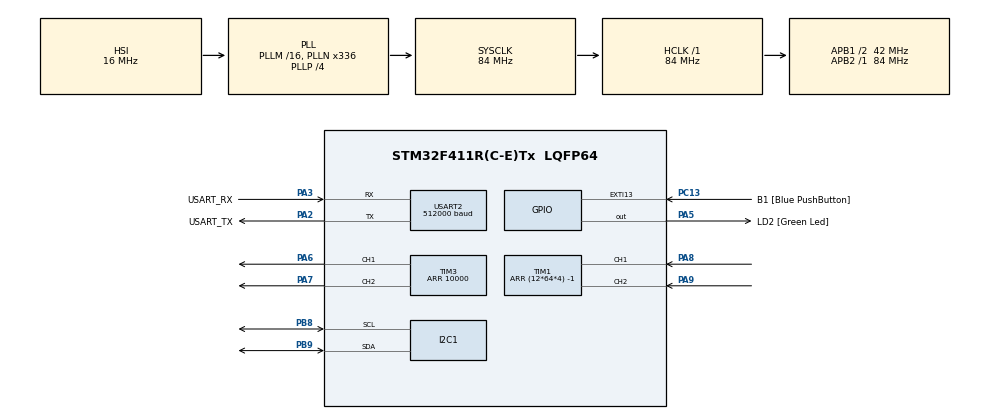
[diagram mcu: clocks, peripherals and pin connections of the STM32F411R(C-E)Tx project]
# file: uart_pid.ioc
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Dma.Request0=USART2_RX
Dma.Request1=USART2_TX
Dma.USART2_RX.0.Direction=DMA_PERIPH_TO_MEMORY
Dma.USART2_RX.0.FIFOMode=DMA_FIFOMODE_DISABLE
Dma.USART2_RX.0.Instance=DMA1_Stream5
Dma.USART2_RX.0.MemDataAlignment=DMA_MDATAALIGN_BYTE
Dma.USART2_RX.0.MemInc=DMA_MINC_ENABLE
Dma.USART2_RX.0.Mode=DMA_CIRCULAR
Dma.USART2_RX.0.PeriphDataAlignment=DMA_PDATAALIGN_BYTE
Dma.USART2_RX.0.PeriphInc=DMA_PINC_DISABLE
Dma.USART2_RX.0.Priority=DMA_PRIORITY_LOW
Dma.USART2_TX.1.Direction=DMA_MEMORY_TO_PERIPH
Dma.USART2_TX.1.FIFOMode=DMA_FIFOMODE_DISABLE
Dma.USART2_TX.1.Instance=DMA1_Stream6
Dma.USART2_TX.1.MemDataAlignment=DMA_MDATAALIGN_BYTE
Dma.USART2_TX.1.MemInc=DMA_MINC_ENABLE
Dma.USART2_TX.1.Mode=DMA_NORMAL
Dma.USART2_TX.1.PeriphDataAlignment=DMA_PDATAALIGN_BYTE
Dma.USART2_TX.1.PeriphInc=DMA_PINC_DISABLE
Dma.USART2_TX.1.Priority=DMA_PRIORITY_LOW
Mcu.Family=STM32F4
Mcu.Name=STM32F411R(C-E)Tx
Mcu.Package=LQFP64
NVIC.DMA1_Stream5_IRQn=true\:0\:0\:false\:false\:true\:false\:true
NVIC.DMA1_Stream6_IRQn=true\:0\:0\:false\:false\:true\:false\:true
NVIC.PriorityGroup=NVIC_PRIORITYGROUP_0
NVIC.TIM5_IRQn=true\:0\:0\:false\:false\:true\:true\:true
NVIC.USART2_IRQn=true\:0\:0\:false\:false\:true\:true\:true
PA13.GPIO_Label=TMS
PA13.Mode=Serial_Wire
PA13.Signal=SYS_JTMS-SWDIO
PA14.GPIO_Label=TCK
PA14.Mode=Serial_Wire
PA14.Signal=SYS_JTCK-SWCLK
PA2.GPIO_Label=USART_TX
PA2.Mode=Asynchronous
PA2.Signal=USART2_TX
PA3.GPIO_Label=USART_RX
PA3.Mode=Asynchronous
PA3.Signal=USART2_RX
PA5.GPIO_Label=LD2 [Green Led]
PA5.Signal=GPIO_Output
PA6.Signal=S_TIM3_CH1
PA7.Signal=S_TIM3_CH2
PA8.Signal=S_TIM1_CH1
PA9.Signal=S_TIM1_CH2
PB3.GPIO_Label=SWO
PB3.Signal=SYS_JTDO-SWO
PB8.Mode=I2C
PB8.Signal=I2C1_SCL
PB9.Mode=I2C
PB9.Signal=I2C1_SDA
PC13-ANTI_TAMP.GPIO_Label=B1 [Blue PushButton]
PC13-ANTI_TAMP.GPIO_ModeDefaultEXTI=GPIO_MODE_IT_FALLING
PC13-ANTI_TAMP.Signal=GPXTI13
PC14-OSC32_IN.Mode=LSE-External-Oscillator
PC14-OSC32_IN.Signal=RCC_OSC32_IN
PC15-OSC32_OUT.Mode=LSE-External-Oscillator
PC15-OSC32_OUT.Signal=RCC_OSC32_OUT
PH0\ -\ OSC_IN.Mode=HSE-External-Clock-Source
PH0\ -\ OSC_IN.Signal=RCC_OSC_IN
PH1\ -\ OSC_OUT.Mode=HSE-External-Clock-Source
PH1\ -\ OSC_OUT.Signal=RCC_OSC_OUT
ProjectManager.HeapSize=0x200
ProjectManager.StackSize=0x400
ProjectManager.TargetToolchain=STM32CubeIDE
RCC.48MHZClocksFreq_Value=84000000
RCC.AHBFreq_Value=84000000
RCC.APB1CLKDivider=RCC_HCLK_DIV2
RCC.APB1Freq_Value=42000000
RCC.APB1TimFreq_Value=84000000
RCC.APB2Freq_Value=84000000
RCC.APB2TimFreq_Value=84000000
RCC.CortexFreq_Value=84000000
RCC.FLatency-AdvancedSettings=FLASH_LATENCY_2
RCC.HCLKFreq_Value=84000000
RCC.HSE_VALUE=8000000
RCC.HSI_VALUE=16000000
RCC.PLLN=336
RCC.PLLP=RCC_PLLP_DIV4
RCC.SYSCLKFreq_VALUE=84000000
RCC.SYSCLKSource=RCC_SYSCLKSOURCE_PLLCLK
RCC.VCOOutputFreq_Value=336000000
SH.S_TIM1_CH1.0=TIM1_CH1,Encoder_Interface
SH.S_TIM1_CH2.0=TIM1_CH2,Encoder_Interface
SH.S_TIM3_CH1.0=TIM3_CH1,PWM Generation1 CH1
SH.S_TIM3_CH2.0=TIM3_CH2,PWM Generation2 CH2
TIM1.EncoderMode=TIM_ENCODERMODE_TI12
TIM1.Period=(12*64*4) -1
TIM3.Channel-PWM\ Generation1\ CH1=TIM_CHANNEL_1
TIM3.Channel-PWM\ Generation2\ CH2=TIM_CHANNEL_2
TIM3.Period=10000
TIM5.Prescaler=99
USART2.BaudRate=512000
USART2.Parity=PARITY_EVEN
USART2.VirtualMode=VM_ASYNC
USART2.WordLength=WORDLENGTH_9B
VP_TIM5_VS_ClockSourceINT.Mode=Internal
board=NUCLEO-F411RE

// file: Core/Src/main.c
/* USER CODE BEGIN Header */
/**
  ******************************************************************************
  * @file           : main.c
  * @brief          : Main program body
  ******************************************************************************
  * @attention
  *
  * <h2><center>&copy; Copyright (c) 2021 STMicroelectronics.
  * All rights reserved.</center></h2>
  *
  * This software component is licensed by ST under BSD 3-Clause license,
  * the "License"; You may not use this file except in compliance with the
  * License. You may obtain a copy of the License at:
  *                        opensource.org/licenses/BSD-3-Clause
  *
  ******************************************************************************
  */
/* USER CODE END Header */
#include "main.h"

/* USER CODE BEGIN Includes */
#include <math.h>
#include <stdlib.h>

/* USER CODE END Includes */

/* USER CODE BEGIN PTD */

typedef struct{

	double pre_input;
	double pre_output;
	double pre_time;
	double Wc;

} LowPass;

typedef struct{

	double kp,ki,kd;
	double tau;		// derivative low-pass filter time constant
	double max,min;	// output limit
	double dt;		// sample time
	double integral,pre_error,diff,pre_mea;

} PID;

// UART protocol
typedef struct _UartStructure
{
	UART_HandleTypeDef *huart;
	uint16_t TxLen, RxLen;
	uint8_t *TxBuffer;
	uint16_t TxTail, TxHead;
	uint8_t *RxBuffer;
	uint16_t RxTail; //RXHeadUseDMA

} UARTStucrture;

UARTStucrture UART2 =
{ 0 };

typedef enum{
	state_idle,
	state_start,
	state_mode,
	state_n_station,
	state_data_frame,
	state_check_sum,
	state_wait_for_ack1_1,
	state_wait_for_ack1_2,
}uart_state;

int inputchar = -1;

typedef enum{
	state_move_idle,
	state_tar_plan,
	state_wait_des,
	state_wait_5sec,
	state_check_left_stations
}moving_state;

/* USER CODE END PTD */

I2C_HandleTypeDef hi2c1;

TIM_HandleTypeDef htim1;
TIM_HandleTypeDef htim3;
TIM_HandleTypeDef htim5;

UART_HandleTypeDef huart2;
DMA_HandleTypeDef hdma_usart2_rx;
DMA_HandleTypeDef hdma_usart2_tx;

/* USER CODE BEGIN PV */

uint64_t _micro = 0;

int encoder_value = 0;
double encoder_velocity = 0,encoder_velocity_rpm = 0;
uint64_t time_stamp = 0,time_stamp2 = 0,time_stamp_5sec = 0;

LowPass lowpass_filters[10] = {0};
double Wc_arr[15] = {0.00001,0.00002,0.00003,0.00004,0.00005,0.00006,0.00007,0.00008,0.00009,0.0001} ;
double lowpass_output[15] = {0};
double kalman_output = 0;

PID pids[2] = {0};
double pid_pwm_output = 0,setpoint = 0;

double paths[1000] = {0};
int paths_ind = 0,path_n_cnt = 0;

int station_ind = 0;
int stations_postion[10] = {0,45,180,35,270,70,150,200,30,300};
uint8_t mcu_connect = 0,goals[512] = {0},go_now = 0,current_station = 0,enable_endeffector = 0,enable_sethome = 0;
uint16_t n_goal = 0;
double max_velocity = 0,set_position = 0,current_position = 1.5634;

moving_state move_state = state_move_idle;

/* USER CODE END PV */

void SystemClock_Config(void);
static void MX_GPIO_Init(void);
static void MX_DMA_Init(void);
static void MX_USART2_UART_Init(void);
static void MX_TIM1_Init(void);
static void MX_TIM3_Init(void);
static void MX_TIM5_Init(void);
static void MX_I2C1_Init(void);
/* USER CODE BEGIN PFP */

uint64_t micros();

int unwraping_update();
double velocity_update(int cur_pos);
double low_pass_process(LowPass *lowpass,double input);
double kalman_filter_update(double U);
double pid_update(PID *pid,double setpoint,double mea);
double ppms_to_rpm(double input);
void targectory_cal(double *datas,int *n,int start_pos,int stop_pos,double dt);
void encoder_lowpass_update();
void uart_update();
void moving_state_update();
void end_effector_update();

//UART protocol
void UARTInit(UARTStucrture *uart);

void UARTResetStart(UARTStucrture *uart);

uint32_t UARTGetRxHead(UARTStucrture *uart);

int16_t UARTReadChar(UARTStucrture *uart);

void UARTTxDumpBuffer(UARTStucrture *uart);

void UARTTxWrite(UARTStucrture *uart, uint8_t *pData, uint16_t len);

void uart_protocal(int16_t input,UARTStucrture *uart);

/* USER CODE END PFP */

int main(void)
{

  /* MCU Configuration--------------------------------------------------------*/

  /* Reset of all peripherals, Initializes the Flash interface and the Systick. */
  HAL_Init();

  /* Configure the system clock */
  SystemClock_Config();

  /* Initialize all configured peripherals */
  MX_GPIO_Init();
  MX_DMA_Init();
  MX_USART2_UART_Init();
  MX_TIM1_Init();
  MX_TIM3_Init();
  MX_TIM5_Init();
  MX_I2C1_Init();
  /* USER CODE BEGIN 2 */

  // start micro
  HAL_TIM_Base_Start_IT(&htim5);

  // start PWM
  HAL_TIM_Base_Start(&htim3);
  HAL_TIM_PWM_Start(&htim3, TIM_CHANNEL_1);
  HAL_TIM_PWM_Start(&htim3, TIM_CHANNEL_2);

  // start QEI
  HAL_TIM_Encoder_Start(&htim1, TIM_CHANNEL_ALL);

  //init lowpass_filter
  for(int i = 0;i < 10;i++){
	  lowpass_filters[i].Wc = Wc_arr[i];
  }

  //init pid
  pids[0].dt = pids[1].dt = 0.02;
  pids[0].min = pids[1].min = -10000;
  pids[0].max = pids[1].max = 10000;
  pids[0].tau = pids[1].tau = 0.02;

  pids[0].kp = 500;
  pids[0].ki = 600;
  pids[0].kd = 10;

  //PID position control
  pids[1].kp = 500;
  pids[1].ki = 1000;
  pids[1].kd = 1;

  //UART protocol
  UART2.huart = &huart2;
  UART2.RxLen = 255;
  UART2.TxLen = 255;
  UARTInit(&UART2);
  UARTResetStart(&UART2);

  enable_endeffector = 1;

  targectory_cal(paths, &path_n_cnt, 0, 180, 0.02);

  /* USER CODE END 2 */

  /* Infinite loop */
  /* USER CODE BEGIN WHILE */
  while (1)
  {

	  moving_state_update();

	  encoder_lowpass_update();

	  end_effector_update();

	  //pid control , system dead-time = 0.16 sec = 6.25 Hz 165000
	  if(micros() - time_stamp2 > 20000){ // 6.06Hz
		  time_stamp2 = micros();

		  setpoint = paths_ind < path_n_cnt ? paths[paths_ind++]/6:0;
		  pid_pwm_output = pid_update(&pids[0], setpoint, encoder_velocity_rpm);

		  /*
		  if(go_now == 1 && abs((int)(setpoint - (double)encoder_value/(12*64*4-1)*360)) < 3){
		  	  setpoint = stations_postion[goals[station_ind++]];
			  if(station_ind >= n_goal){go_now = station_ind = 0;}
			}
			pid_pwm_output = pid_update(&pids[1], setpoint, (double)encoder_value/(12*64*4-1)*360);
		   */

		  if(pid_pwm_output > 0){
			  __HAL_TIM_SET_COMPARE(&htim3,TIM_CHANNEL_1,pid_pwm_output);
			  __HAL_TIM_SET_COMPARE(&htim3,TIM_CHANNEL_2,0);
		  }
		  else{
			  __HAL_TIM_SET_COMPARE(&htim3,TIM_CHANNEL_1,0);
			  __HAL_TIM_SET_COMPARE(&htim3,TIM_CHANNEL_2,-pid_pwm_output);
		  }
	  }

	  uart_update();

    /* USER CODE END WHILE */

  }
}

void SystemClock_Config(void)
{
  RCC_OscInitTypeDef RCC_OscInitStruct = {0};
  RCC_ClkInitTypeDef RCC_ClkInitStruct = {0};

  /** Configure the main internal regulator output voltage
  */
  __HAL_RCC_PWR_CLK_ENABLE();
  __HAL_PWR_VOLTAGESCALING_CONFIG(PWR_REGULATOR_VOLTAGE_SCALE1);
  /** Initializes the RCC Oscillators according to the specified parameters
  * in the RCC_OscInitTypeDef structure.
  */
  RCC_OscInitStruct.OscillatorType = RCC_OSCILLATORTYPE_HSI;
  RCC_OscInitStruct.HSIState = RCC_HSI_ON;
  RCC_OscInitStruct.HSICalibrationValue = RCC_HSICALIBRATION_DEFAULT;
  RCC_OscInitStruct.PLL.PLLState = RCC_PLL_ON;
  RCC_OscInitStruct.PLL.PLLSource = RCC_PLLSOURCE_HSI;
  RCC_OscInitStruct.PLL.PLLM = 16;
  RCC_OscInitStruct.PLL.PLLN = 336;
  RCC_OscInitStruct.PLL.PLLP = RCC_PLLP_DIV4;
  RCC_OscInitStruct.PLL.PLLQ = 4;
  if (HAL_RCC_OscConfig(&RCC_OscInitStruct) != HAL_OK)
  {
    Error_Handler();
  }
  /** Initializes the CPU, AHB and APB buses clocks
  */
  RCC_ClkInitStruct.ClockType = RCC_CLOCKTYPE_HCLK|RCC_CLOCKTYPE_SYSCLK
                              |RCC_CLOCKTYPE_PCLK1|RCC_CLOCKTYPE_PCLK2;
  RCC_ClkInitStruct.SYSCLKSource = RCC_SYSCLKSOURCE_PLLCLK;
  RCC_ClkInitStruct.AHBCLKDivider = RCC_SYSCLK_DIV1;
  RCC_ClkInitStruct.APB1CLKDivider = RCC_HCLK_DIV2;
  RCC_ClkInitStruct.APB2CLKDivider = RCC_HCLK_DIV1;

  if (HAL_RCC_ClockConfig(&RCC_ClkInitStruct, FLASH_LATENCY_2) != HAL_OK)
  {
    Error_Handler();
  }
}

static void MX_I2C1_Init(void)
{

  hi2c1.Instance = I2C1;
  hi2c1.Init.ClockSpeed = 100000;
  hi2c1.Init.DutyCycle = I2C_DUTYCYCLE_2;
  hi2c1.Init.OwnAddress1 = 0;
  hi2c1.Init.AddressingMode = I2C_ADDRESSINGMODE_7BIT;
  hi2c1.Init.DualAddressMode = I2C_DUALADDRESS_DISABLE;
  hi2c1.Init.OwnAddress2 = 0;
  hi2c1.Init.GeneralCallMode = I2C_GENERALCALL_DISABLE;
  hi2c1.Init.NoStretchMode = I2C_NOSTRETCH_DISABLE;
  if (HAL_I2C_Init(&hi2c1) != HAL_OK)
  {
    Error_Handler();
  }

}

static void MX_TIM1_Init(void)
{

  TIM_Encoder_InitTypeDef sConfig = {0};
  TIM_MasterConfigTypeDef sMasterConfig = {0};

  htim1.Instance = TIM1;
  htim1.Init.Prescaler = 0;
  htim1.Init.CounterMode = TIM_COUNTERMODE_UP;
  htim1.Init.Period = (12*64*4) -1;
  htim1.Init.ClockDivision = TIM_CLOCKDIVISION_DIV1;
  htim1.Init.RepetitionCounter = 0;
  htim1.Init.AutoReloadPreload = TIM_AUTORELOAD_PRELOAD_DISABLE;
  sConfig.EncoderMode = TIM_ENCODERMODE_TI12;
  sConfig.IC1Polarity = TIM_ICPOLARITY_RISING;
  sConfig.IC1Selection = TIM_ICSELECTION_DIRECTTI;
  sConfig.IC1Prescaler = TIM_ICPSC_DIV1;
  sConfig.IC1Filter = 0;
  sConfig.IC2Polarity = TIM_ICPOLARITY_RISING;
  sConfig.IC2Selection = TIM_ICSELECTION_DIRECTTI;
  sConfig.IC2Prescaler = TIM_ICPSC_DIV1;
  sConfig.IC2Filter = 0;
  if (HAL_TIM_Encoder_Init(&htim1, &sConfig) != HAL_OK)
  {
    Error_Handler();
  }
  sMasterConfig.MasterOutputTrigger = TIM_TRGO_RESET;
  sMasterConfig.MasterSlaveMode = TIM_MASTERSLAVEMODE_DISABLE;
  if (HAL_TIMEx_MasterConfigSynchronization(&htim1, &sMasterConfig) != HAL_OK)
  {
    Error_Handler();
  }

}

static void MX_TIM3_Init(void)
{

  TIM_MasterConfigTypeDef sMasterConfig = {0};
  TIM_OC_InitTypeDef sConfigOC = {0};

  htim3.Instance = TIM3;
  htim3.Init.Prescaler = 0;
  htim3.Init.CounterMode = TIM_COUNTERMODE_UP;
  htim3.Init.Period = 10000;
  htim3.Init.ClockDivision = TIM_CLOCKDIVISION_DIV1;
  htim3.Init.AutoReloadPreload = TIM_AUTORELOAD_PRELOAD_DISABLE;
  if (HAL_TIM_PWM_Init(&htim3) != HAL_OK)
  {
    Error_Handler();
  }
  sMasterConfig.MasterOutputTrigger = TIM_TRGO_RESET;
  sMasterConfig.MasterSlaveMode = TIM_MASTERSLAVEMODE_DISABLE;
  if (HAL_TIMEx_MasterConfigSynchronization(&htim3, &sMasterConfig) != HAL_OK)
  {
    Error_Handler();
  }
  sConfigOC.OCMode = TIM_OCMODE_PWM1;
  sConfigOC.Pulse = 0;
  sConfigOC.OCPolarity = TIM_OCPOLARITY_HIGH;
  sConfigOC.OCFastMode = TIM_OCFAST_DISABLE;
  if (HAL_TIM_PWM_ConfigChannel(&htim3, &sConfigOC, TIM_CHANNEL_1) != HAL_OK)
  {
    Error_Handler();
  }
  if (HAL_TIM_PWM_ConfigChannel(&htim3, &sConfigOC, TIM_CHANNEL_2) != HAL_OK)
  {
    Error_Handler();
  }
  HAL_TIM_MspPostInit(&htim3);

}

static void MX_TIM5_Init(void)
{

  TIM_ClockConfigTypeDef sClockSourceConfig = {0};
  TIM_MasterConfigTypeDef sMasterConfig = {0};

  htim5.Instance = TIM5;
  htim5.Init.Prescaler = 99;
  htim5.Init.CounterMode = TIM_COUNTERMODE_UP;
  htim5.Init.Period = 4294967295;
  htim5.Init.ClockDivision = TIM_CLOCKDIVISION_DIV1;
  htim5.Init.AutoReloadPreload = TIM_AUTORELOAD_PRELOAD_DISABLE;
  if (HAL_TIM_Base_Init(&htim5) != HAL_OK)
  {
    Error_Handler();
  }
  sClockSourceConfig.ClockSource = TIM_CLOCKSOURCE_INTERNAL;
  if (HAL_TIM_ConfigClockSource(&htim5, &sClockSourceConfig) != HAL_OK)
  {
    Error_Handler();
  }
  sMasterConfig.MasterOutputTrigger = TIM_TRGO_RESET;
  sMasterConfig.MasterSlaveMode = TIM_MASTERSLAVEMODE_DISABLE;
  if (HAL_TIMEx_MasterConfigSynchronization(&htim5, &sMasterConfig) != HAL_OK)
  {
    Error_Handler();
  }

}

static void MX_USART2_UART_Init(void)
{

  huart2.Instance = USART2;
  huart2.Init.BaudRate = 512000;
  huart2.Init.WordLength = UART_WORDLENGTH_9B;
  huart2.Init.StopBits = UART_STOPBITS_1;
  huart2.Init.Parity = UART_PARITY_EVEN;
  huart2.Init.Mode = UART_MODE_TX_RX;
  huart2.Init.HwFlowCtl = UART_HWCONTROL_NONE;
  huart2.Init.OverSampling = UART_OVERSAMPLING_16;
  if (HAL_UART_Init(&huart2) != HAL_OK)
  {
    Error_Handler();
  }

}

static void MX_DMA_Init(void)
{

  /* DMA controller clock enable */
  __HAL_RCC_DMA1_CLK_ENABLE();

  /* DMA interrupt init */
  /* DMA1_Stream5_IRQn interrupt configuration */
  HAL_NVIC_SetPriority(DMA1_Stream5_IRQn, 0, 0);
  HAL_NVIC_EnableIRQ(DMA1_Stream5_IRQn);
  /* DMA1_Stream6_IRQn interrupt configuration */
  HAL_NVIC_SetPriority(DMA1_Stream6_IRQn, 0, 0);
  HAL_NVIC_EnableIRQ(DMA1_Stream6_IRQn);

}

static void MX_GPIO_Init(void)
{
  GPIO_InitTypeDef GPIO_InitStruct = {0};

  /* GPIO Ports Clock Enable */
  __HAL_RCC_GPIOC_CLK_ENABLE();
  __HAL_RCC_GPIOH_CLK_ENABLE();
  __HAL_RCC_GPIOA_CLK_ENABLE();
  __HAL_RCC_GPIOB_CLK_ENABLE();

  /*Configure GPIO pin Output Level */
  HAL_GPIO_WritePin(LD2_GPIO_Port, LD2_Pin, GPIO_PIN_RESET);

  /*Configure GPIO pin : B1_Pin */
  GPIO_InitStruct.Pin = B1_Pin;
  GPIO_InitStruct.Mode = GPIO_MODE_IT_FALLING;
  GPIO_InitStruct.Pull = GPIO_NOPULL;
  HAL_GPIO_Init(B1_GPIO_Port, &GPIO_InitStruct);

  /*Configure GPIO pin : LD2_Pin */
  GPIO_InitStruct.Pin = LD2_Pin;
  GPIO_InitStruct.Mode = GPIO_MODE_OUTPUT_PP;
  GPIO_InitStruct.Pull = GPIO_NOPULL;
  GPIO_InitStruct.Speed = GPIO_SPEED_FREQ_LOW;
  HAL_GPIO_Init(LD2_GPIO_Port, &GPIO_InitStruct);

}

/* USER CODE BEGIN 4 */

static int pre_enc_cnt = 0;
static int k = 0;

#define half_enc_cnt (12*64*4)/2
#define enc_cnt 12*64*4
int unwraping_update(){

	static int cur_enc_cnt = 0;

	cur_enc_cnt = TIM1->CNT;

	if(abs((int)cur_enc_cnt - pre_enc_cnt) > half_enc_cnt){
		k+= (int)cur_enc_cnt - pre_enc_cnt > 0 ? -1 : 1 ;
	}

	pre_enc_cnt = cur_enc_cnt;
	return enc_cnt * k + cur_enc_cnt;
}

double velocity_update(int cur_pos){
	static int pre_pos = 0;
	static int pre_time = 0;
	static int cur_time = 0;

	cur_time = micros();

	double velo = (double)(cur_pos - pre_pos)/(cur_time - pre_time);

	pre_pos = cur_pos;
	pre_time = cur_time;

	return velo;

}

double ppms_to_rpm(double input){
	return input*60e6/(enc_cnt);
}

double low_pass_process(LowPass *lowpass,double input){

	double cur_time = micros();
	double delta_t = cur_time - lowpass->pre_time;
	double k = (lowpass->Wc*delta_t)/(2+ lowpass->Wc*delta_t);

	double output = (1 - 2*k)*(lowpass->pre_output) +k*(input+lowpass->pre_input);

	lowpass->pre_time = cur_time;
	lowpass->pre_input = input;
	lowpass->pre_output = output;

	return output;
}

static double R = 40; //noise covariance
static double H = 1; //measurement map scalar
static double Q = 10; //initial estimate covariance
static double P = 0 ; //initial error covariance
static double U_hat = 0; //initial estimate state
static double K = 0; //initial Kalman gain

double kalman_filter_update(double U){
	//being
	K = P*H/(H*P*H+R); //updata kalman gain
	U_hat = U_hat + (U-H*U_hat); //update estimated

	//update error covariance
	P = (1-K*H)*P+Q;

	return U_hat;
}

double pid_update(PID *pid,double setpoint,double mea){

	//Error
	double error = setpoint - mea;

	//Proportional
	double proportional = pid->kp * error;

	//Integral
	pid->integral = pid->integral + 0.5f * pid->ki * pid->dt * (error + pid->pre_error);

	//calculate integral anti wind up
	double max_i,min_i;

	max_i = pid->max > proportional ? pid->max - proportional : 0;
	min_i = pid->min < proportional ? pid->min - proportional : 0;

	//integral clamp
	if(pid->integral > max_i){
		pid->integral = max_i;
	}
	else if(pid->integral < min_i){
		pid->integral = min_i;
	}

	//Derivative
	pid->diff = -(2.0f * pid->kd * (mea - pid->pre_mea) + (2.0f * pid->tau - pid->dt) * pid->diff) / (2.0f * pid->tau + pid->dt);

	double output = proportional + pid->integral + pid->diff;

	if(output > pid->max){
		output = pid->max;
	}
	else if(output < pid->min){
		output = pid->min;
	}

	pid->pre_error = error;
	pid->pre_mea = mea;

	return output;

}

void targectory_cal(double *datas,int *n,int start_pos,int stop_pos,double dt){

    double v_max = 10*6;            // degree per sec
    double a_max = 0.5 * 57.296;    // degree per sec^2

    int dis = (stop_pos - start_pos +360)%360;
    int inverse = 0;
    if ((start_pos - stop_pos +360)%360 < dis){
        inverse = 1;
        dis = (start_pos - stop_pos +360)%360;
    }
    start_pos = 0;
    stop_pos = dis;

    double tf = 5;
    double a0 = 0;
    double a1 = 0;
    double a2 = 0;
    double a3 = 10*((double)dis)/(tf*tf*tf);
    double a4 = -15*((double)dis)/(tf*tf*tf*tf);
    double a5 = 6*((double)dis)/(tf*tf*tf*tf*tf);

    *n = (int)(tf/dt);

    double t = 0;
    for(int i =0;i < *n ; i++){
        datas[i] = a1 + 2*a2*t + 3*a3*t*t + 4*a4*t*t*t + 5*a5*t*t*t*t;
        t+=dt;
    }

    if(inverse){
        for(int i = 0;i<*n;i++){
            datas[i] *= -1;
        }
    }

}

uint64_t micros(){
	return _micro + TIM5->CNT;
}

void HAL_TIM_PeriodElapsedCallback(TIM_HandleTypeDef *htim){

	if(htim == &htim5){
		_micro += ((uint64_t)1<<32)-1;
	}

}

//UART protocol

void UARTInit(UARTStucrture *uart)
{
	//dynamic memory allocate
	uart->RxBuffer = (uint8_t*) calloc(sizeof(uint8_t), UART2.RxLen);
	uart->TxBuffer = (uint8_t*) calloc(sizeof(uint8_t), UART2.TxLen);
	uart->RxTail = 0;
	uart->TxTail = 0;
	uart->TxHead = 0;

}

void UARTResetStart(UARTStucrture *uart)
{
	HAL_UART_Receive_DMA(uart->huart, uart->RxBuffer, uart->RxLen);
}
uint32_t UARTGetRxHead(UARTStucrture *uart)
{
	return uart->RxLen - __HAL_DMA_GET_COUNTER(uart->huart->hdmarx);
}
int16_t UARTReadChar(UARTStucrture *uart)
{
	int16_t Result = -1; // -1 Mean no new data

	//check Buffer Position
	if (uart->RxTail != UARTGetRxHead(uart))
	{
		//get data from buffer
		Result = uart->RxBuffer[uart->RxTail];
		uart->RxTail = (uart->RxTail + 1) % uart->RxLen;

	}
	return Result;

}
void UARTTxDumpBuffer(UARTStucrture *uart)
{
	static uint8_t MultiProcessBlocker = 0;

	if (uart->huart->gState == HAL_UART_STATE_READY && !MultiProcessBlocker)
	{
		MultiProcessBlocker = 1;

		if (uart->TxHead != uart->TxTail)
		{
			//find len of data in buffer (Circular buffer but do in one way)
			uint16_t sentingLen =
					uart->TxHead > uart->TxTail ?
							uart->TxHead - uart->TxTail :
							uart->TxLen - uart->TxTail;

			//sent data via DMA
			HAL_UART_Transmit_DMA(uart->huart, &(uart->TxBuffer[uart->TxTail]),
					sentingLen);
			//move tail to new position
			uart->TxTail = (uart->TxTail + sentingLen) % uart->TxLen;

		}
		MultiProcessBlocker = 0;
	}
}
void UARTTxWrite(UARTStucrture *uart, uint8_t *pData, uint16_t len)
{
	//check data len is more than buffur?
	uint16_t lenAddBuffer = (len <= uart->TxLen) ? len : uart->TxLen;
	// find number of data before end of ring buffer
	uint16_t numberOfdataCanCopy =
			lenAddBuffer <= uart->TxLen - uart->TxHead ?
					lenAddBuffer : uart->TxLen - uart->TxHead;
	//copy data to the buffer
	memcpy(&(uart->TxBuffer[uart->TxHead]), pData, numberOfdataCanCopy);

	//Move Head to new position

	uart->TxHead = (uart->TxHead + lenAddBuffer) % uart->TxLen;
	//Check that we copy all data That We can?
	if (lenAddBuffer != numberOfdataCanCopy)
	{
		memcpy(uart->TxBuffer, &(pData[numberOfdataCanCopy]),
				lenAddBuffer - numberOfdataCanCopy);
	}
	UARTTxDumpBuffer(uart);

}

static uart_state state = state_idle;
static uint8_t sum = 0,debug = 0;
static uint8_t datas[256] = {0},data_ind = 0,n_data = 0;
static uint8_t mode = 0;

void uart_protocal(int16_t input,UARTStucrture *uart){

	debug = input;

	switch (state) {
		case state_idle:
			sum = data_ind = 0;
			if(input >= 0b10010001 && input <= 0b10011110){
				mode = input & 0b1111;
				sum += input;
				switch (mode){
					case 1:n_data = 2;state = state_data_frame;break;
					case 2:state = state_check_sum;break;
					case 3:state = state_check_sum;break;
					case 4:n_data = 2;state = state_data_frame;break;
					case 5:n_data = 2;state = state_data_frame;break;
					case 6:n_data = 2;state = state_data_frame;break;
					case 7:state = state_n_station;break;
					case 8:state = state_check_sum;break;
					case 9:state = state_check_sum;break;
					case 10:state = state_check_sum;break;
					case 11:state = state_check_sum;break;
					case 12:state = state_check_sum;break;
					case 13:state = state_check_sum;break;
					case 14:state = state_check_sum;break;
				}
			}
			else{
				sum = n_data = data_ind = mode = 0;
			}
			break;
		case state_n_station:

			//n_data = (input+1)/2 & 0xFF; //data sheet version

			n_data = input; //UI version

			sum+= input;
			state = state_data_frame;
			break;
		case state_data_frame:
			if(data_ind < n_data){
				datas[data_ind] = input;
				sum += datas[data_ind++];
			}
			if(data_ind == n_data){
				state = state_check_sum;
			}
			break;
		case state_check_sum:
			if(input == (uint8_t) ~sum){
				switch(mode){
					case 1:{
						uint8_t temp[] = { (0b1001<<4) | mode , datas[0] , datas[1] , (uint8_t)input};
						UARTTxWrite(&UART2, temp, 4);
						state = state_idle;
						break;
					}
					case 2:{
						mcu_connect = 1;
						uint8_t temp[] = {0x58,0b01110101};
						UARTTxWrite(&UART2, temp, 2);
						state = state_idle;
						break;
					}
					case 3:{
						mcu_connect = 0;
						uint8_t temp[] = {0x58,0b01110101};
						UARTTxWrite(&UART2, temp, 2);
						state = state_idle;
						break;
					}
					case 4:{
						max_velocity = datas[1];
						uint8_t temp[] = {0x58,0b01110101};
						UARTTxWrite(&UART2, temp, 2);
						state = state_idle;
						break;
					}
					case 5:{
						set_position = (double)((uint16_t)(datas[0]<<8) + datas[1])*1e-4;
						uint8_t temp[] = {0x58,0b01110101};
						UARTTxWrite(&UART2, temp, 2);
						state = state_idle;
						break;
					}
					case 6:{
						goals[0] = datas[1];
						n_goal = 1;
						uint8_t temp[] = {0x58,0b01110101};
						UARTTxWrite(&UART2, temp, 2);
						state = state_idle;
						break;
					}
					case 7:{
						n_goal = 0;
						for(int i = 0;i < n_data;i++){

							/* data sheet version
							goals[2*i] = datas[i] & 0b1111;
							goals[2*i+1] = datas[i]>>4;
							n_goal += 2;
							*/

							//UI version
							goals[i] = datas[i];
							n_goal++;
							//UI version
						}
						if(goals[n_goal-1] == 0){
							n_goal--;
						}
						uint8_t temp[] = {0x58,0b01110101};
						UARTTxWrite(&UART2, temp, 2);
						state = state_idle;
						break;
					}
					case 8:{
						go_now = 1;
						uint8_t temp[] = {0x58,0b01110101};
						UARTTxWrite(&UART2, temp, 2);
						state = state_idle;
						break;
					}
					case 9:{
						uint8_t temp[] = {0x58,0b01110101};
						UARTTxWrite(&UART2, temp, 2);
						uint8_t temp2[] = {0b10011001,current_station,~(0b10011001+current_station) & 0xFF};
						UARTTxWrite(&UART2, temp2, 3);
						state = state_wait_for_ack1_1;
						break;
					}
					case 10:{
						uint8_t temp[] = {0x58,0b01110101};
						UARTTxWrite(&UART2, temp, 2);
						uint16_t pos = (uint16_t)(current_position*1e4);
						uint8_t temp2[] = {0b10011010,pos >> 8,pos & 0xFF, ~(0b10011001+(pos >> 8)+ (pos & 0xFF)) & 0xFF};
						UARTTxWrite(&UART2, temp2, 4);
						state = state_wait_for_ack1_1;
						break;
					}
					case 11:{
						uint8_t temp[] = {0x58,0b01110101};
						UARTTxWrite(&UART2, temp, 2);
						uint8_t temp2[] = {0b10011011,(uint8_t)max_velocity,~(0b10011011+(uint8_t)max_velocity) & 0xFF};
						UARTTxWrite(&UART2, temp2, 3);
						state = state_wait_for_ack1_1;
						break;
					}
					case 12:{
						enable_endeffector = 1;
						uint8_t temp[] = {0x58,0b01110101};
						UARTTxWrite(&UART2, temp, 2);
						state = state_idle;
						break;
					}
					case 13:{
						enable_endeffector = 0;
						uint8_t temp[] = {0x58,0b01110101};
						UARTTxWrite(&UART2, temp, 2);
						state = state_idle;
						break;
					}
					case 14:{
						enable_sethome = 1;
						uint8_t temp[] = {0x58,0b01110101};
						UARTTxWrite(&UART2, temp, 2);
						state = state_idle;
						break;
					}
				}
			}
			else{
				//error check sum
			}
			break;
		case state_wait_for_ack1_1:{if(input == 0x58){state = state_wait_for_ack1_2;}break;}
		case state_wait_for_ack1_2:{if(input == 0b01110101){state = state_idle;}break;}
	}

}

void encoder_lowpass_update(){

	 encoder_value = unwraping_update();

	  // read encoder with low-pass
	  if(micros() - time_stamp > 1000){ // 1kHz
		  time_stamp = micros();

		  encoder_velocity = velocity_update(encoder_value);

		  for(int i = 0;i < 10;i++){
			  lowpass_output[i] = low_pass_process(&lowpass_filters[i], encoder_velocity);
		  }

		  encoder_velocity_rpm = ppms_to_rpm(lowpass_output[1]);
		  //kalman_output = kalman_filter_update(encoder_velocity*300);
	  }

}

void uart_update(){
	//Uart protocol
	int16_t inputChar = UARTReadChar(&UART2);
	if(inputChar != -1){
	  /*char temp[32];
	  sprintf(temp, "%d", inputChar);
	  UARTTxWrite(&UART2, (uint8_t*) temp, strlen(temp));*/
	  uart_protocal(inputChar, &UART2);
	}
	UARTTxDumpBuffer(&UART2);
}

void moving_state_update(){

	switch (move_state) {
		case state_move_idle:{if(go_now){move_state = state_tar_plan;} break;}
		case state_tar_plan:{ targectory_cal(paths, &path_n_cnt, (double)(TIM1->CNT)/(12*64*4 -1)*360,stations_postion[goals[station_ind++]] , 0.02); paths_ind = 0; move_state = state_wait_des; break;}
		case state_wait_des:{if(paths_ind >= path_n_cnt){time_stamp_5sec = micros(); enable_endeffector = 1; move_state = state_wait_5sec;} break;}
		case state_wait_5sec:{if(micros() - time_stamp_5sec >= 5e6){move_state = state_check_left_stations;} break;}
		case state_check_left_stations:{if(station_ind >= n_goal){go_now = station_ind = 0;uint8_t temp[] = {70,110}; UARTTxWrite(&UART2, temp, 2); state = state_idle;} move_state = state_move_idle; break;}
		default:break;
	}

}

#define end_effector_address 0x23
void end_effector_update(){
	if(enable_endeffector){
		uint8_t temp = 0x45;
		HAL_I2C_Master_Transmit(&hi2c1, end_effector_address << 1 , &temp, 1, 1000);
		enable_endeffector = 0;
	}

}

/* USER CODE END 4 */

void Error_Handler(void)
{
  __disable_irq();
  while (1)
  {
  }
}

/************************ (C) COPYRIGHT STMicroelectronics *****END OF FILE****/
